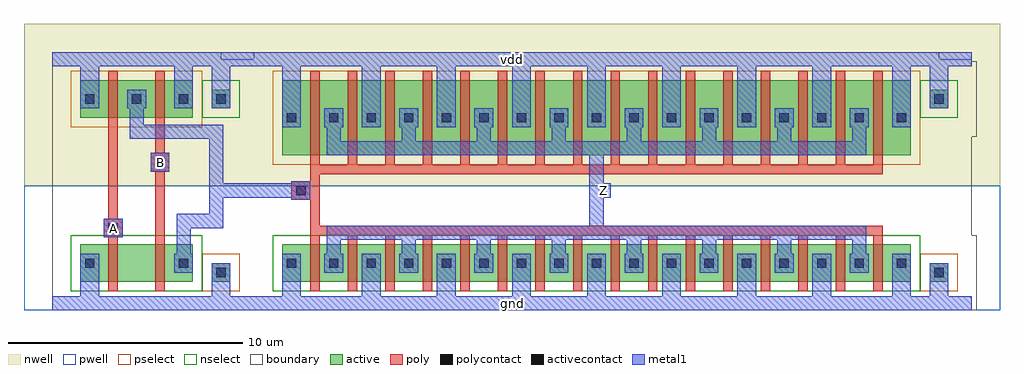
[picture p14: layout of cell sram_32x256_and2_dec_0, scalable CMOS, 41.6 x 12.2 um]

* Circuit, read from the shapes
.subckt sram_32x256_and2_dec_0 A B Z gnd vdd
M1 sram_32x256_pnand2_0/sram_32x256_nmos_m1_w1_600_sm1_dactive_2/D A gnd gnd nfet w=1.6u l=0.4u
M2 sram_32x256_pinv_0_1/A B sram_32x256_pnand2_0/sram_32x256_nmos_m1_w1_600_sm1_dactive_2/D gnd nfet w=1.6u l=0.4u
M3 Z sram_32x256_pinv_0_1/A gnd gnd nfet w=1.6u l=0.4u m=16
M4 sram_32x256_pinv_0_1/A A vdd vdd pfet w=1.6u l=0.4u
M5 vdd B sram_32x256_pinv_0_1/A vdd pfet w=1.6u l=0.4u
M6 Z sram_32x256_pinv_0_1/A vdd vdd pfet w=3.2u l=0.4u m=16
.ends

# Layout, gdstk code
import gdstk
lib = gdstk.Library(unit=1e-6, precision=1e-09)
def R(c, l, rs):  # rectangles x0, y0, x1, y1
    for r in rs: c.add(gdstk.rectangle(r[:2], r[2:], *l))
def A(c, l, x, y, w, h, nx, ny, dx, dy):  # array of equal rectangles
    R(c, l, [(x+i*dx, y+j*dy, x+i*dx+w, y+j*dy+h) for i in range(nx) for j in range(ny)])
pwell = (41, 0)
nwell = (42, 0)
active = (43, 0)
pselect = (44, 0)
nselect = (45, 0)
poly = (46, 0)
polycontact = (47, 0)
activecontact = (48, 0)
metal1 = (49, 0)
boundary = (63, 0)

sram_32x256_contact_12 = lib.new_cell('sram_32x256_contact_12')
R(sram_32x256_contact_12, nwell, [(-1.2,-1.2,2,2)])
R(sram_32x256_contact_12, active, [(0,0,0.8,0.8)])
R(sram_32x256_contact_12, pselect, [(-0.4,-0.4,1.2,1.2)])
R(sram_32x256_contact_12, activecontact, [(0.2,0.2,0.6,0.6)])
R(sram_32x256_contact_12, metal1, [(0,0,0.8,0.8)])
R(sram_32x256_contact_12, boundary, [(-1.2,-1.2,2,2)])

sram_32x256_pmos_m1_w1_6 = lib.new_cell('sram_32x256_pmos_m1_w1_600_sm1_dm1')
R(sram_32x256_pmos_m1_w1_6, nwell, [(-1.2,-1.2,4,2.8)])
R(sram_32x256_pmos_m1_w1_6, active, [(0,0,2.8,1.6)])
R(sram_32x256_pmos_m1_w1_6, pselect, [(-0.4,-0.4,3.2,2)])
R(sram_32x256_pmos_m1_w1_6, poly, [(1.2,-0.4,1.6,2), (1.2,-0.4,1.6,2)])
R(sram_32x256_pmos_m1_w1_6, metal1, [(0,0.4,0.8,1.2), (2,0.4,2.8,1.2)])
R(sram_32x256_pmos_m1_w1_6, boundary, [(-1.2,-1.2,4,2.8)])
sram_32x256_pmos_m1_w1_6.add(gdstk.Reference(sram_32x256_contact_12, (0,0.4)))
sram_32x256_pmos_m1_w1_6.add(gdstk.Reference(sram_32x256_contact_12, (2,0.4)))
sram_32x256_pmos_m1_w1_6.add(gdstk.Label('G', (1.4,0.8), layer=46, texttype=0))
sram_32x256_pmos_m1_w1_6.add(gdstk.Label('S', (0.4,0.8), layer=49, texttype=0))
sram_32x256_pmos_m1_w1_6.add(gdstk.Label('D', (2.4,0.8), layer=49, texttype=0))

sram_32x256_contact_11 = lib.new_cell('sram_32x256_contact_11')
R(sram_32x256_contact_11, pwell, [(-1.2,-1.2,2,2)])
R(sram_32x256_contact_11, active, [(0,0,0.8,0.8)])
R(sram_32x256_contact_11, nselect, [(-0.4,-0.4,1.2,1.2)])
R(sram_32x256_contact_11, activecontact, [(0.2,0.2,0.6,0.6)])
R(sram_32x256_contact_11, metal1, [(0,0,0.8,0.8)])
R(sram_32x256_contact_11, boundary, [(-1.2,-1.2,2,2)])

sram_32x256_nmos_m1_w1_6 = lib.new_cell('sram_32x256_nmos_m1_w1_600_sm1_dactive')
R(sram_32x256_nmos_m1_w1_6, pwell, [(-1.2,-1.2,4,2.8)])
R(sram_32x256_nmos_m1_w1_6, active, [(0,0,2.8,1.6), (2.1,0.5,2.7,1.1)])
R(sram_32x256_nmos_m1_w1_6, nselect, [(-0.4,-0.4,3.2,2)])
R(sram_32x256_nmos_m1_w1_6, poly, [(1.2,-0.4,1.6,2), (1.2,-0.4,1.6,2)])
R(sram_32x256_nmos_m1_w1_6, metal1, [(0,0.4,0.8,1.2)])
R(sram_32x256_nmos_m1_w1_6, boundary, [(-1.2,-1.2,4,2.8)])
sram_32x256_nmos_m1_w1_6.add(gdstk.Reference(sram_32x256_contact_11, (0,0.4)))
sram_32x256_nmos_m1_w1_6.add(gdstk.Label('G', (1.4,0.8), layer=46, texttype=0))
sram_32x256_nmos_m1_w1_6.add(gdstk.Label('S', (0.4,0.8), layer=49, texttype=0))
sram_32x256_nmos_m1_w1_6.add(gdstk.Label('D', (2.4,0.8), layer=43, texttype=0))

c_sram_32x256_nmos_m1_w1_6 = lib.new_cell('sram_32x256_nmos_m1_w1_600_sactive_dm1')
R(c_sram_32x256_nmos_m1_w1_6, pwell, [(-1.2,-1.2,4,2.8)])
R(c_sram_32x256_nmos_m1_w1_6, active, [(0,0,2.8,1.6), (0.1,0.5,0.7,1.1)])
R(c_sram_32x256_nmos_m1_w1_6, nselect, [(-0.4,-0.4,3.2,2)])
R(c_sram_32x256_nmos_m1_w1_6, poly, [(1.2,-0.4,1.6,2), (1.2,-0.4,1.6,2)])
R(c_sram_32x256_nmos_m1_w1_6, metal1, [(2,0.4,2.8,1.2)])
R(c_sram_32x256_nmos_m1_w1_6, boundary, [(-1.2,-1.2,4,2.8)])
c_sram_32x256_nmos_m1_w1_6.add(gdstk.Reference(sram_32x256_contact_11, (2,0.4)))
c_sram_32x256_nmos_m1_w1_6.add(gdstk.Label('G', (1.4,0.8), layer=46, texttype=0))
c_sram_32x256_nmos_m1_w1_6.add(gdstk.Label('S', (0.4,0.8), layer=43, texttype=0))
c_sram_32x256_nmos_m1_w1_6.add(gdstk.Label('D', (2.4,0.8), layer=49, texttype=0))

sram_32x256_contact_13 = lib.new_cell('sram_32x256_contact_13')
R(sram_32x256_contact_13, nwell, [(-1.2,-1.2,2,2)])
R(sram_32x256_contact_13, active, [(0,0,0.8,0.8)])
R(sram_32x256_contact_13, nselect, [(-0.4,-0.4,1.2,1.2)])
R(sram_32x256_contact_13, activecontact, [(0.2,0.2,0.6,0.6)])
R(sram_32x256_contact_13, metal1, [(0,0,0.8,0.8)])
R(sram_32x256_contact_13, boundary, [(-1.2,-1.2,2,2)])

sram_32x256_contact_14 = lib.new_cell('sram_32x256_contact_14')
R(sram_32x256_contact_14, pwell, [(-1.2,-1.2,2,2)])
R(sram_32x256_contact_14, active, [(0,0,0.8,0.8)])
R(sram_32x256_contact_14, pselect, [(-0.4,-0.4,1.2,1.2)])
R(sram_32x256_contact_14, activecontact, [(0.2,0.2,0.6,0.6)])
R(sram_32x256_contact_14, metal1, [(0,0,0.8,0.8)])
R(sram_32x256_contact_14, boundary, [(-1.2,-1.2,2,2)])

sram_32x256_contact_15 = lib.new_cell('sram_32x256_contact_15')
R(sram_32x256_contact_15, poly, [(0,0,0.8,0.8)])
R(sram_32x256_contact_15, polycontact, [(0.2,0.2,0.6,0.6)])
R(sram_32x256_contact_15, metal1, [(0,0,0.8,0.8)])
R(sram_32x256_contact_15, boundary, [(0,0,0.8,0.8)])

sram_32x256_pnand2 = lib.new_cell('sram_32x256_pnand2')
R(sram_32x256_pnand2, pwell, [(-1.2,-0.3,9.8,5)])
R(sram_32x256_pnand2, nwell, [(-1.2,5,9.8,11.9)])
R(sram_32x256_pnand2, poly, [(2.4,2.8,2.6,3.6), (2.4,2.9,2.8,7.5), (4.4,2.9,4.8,7.5), (4.4,5.6,4.6,6.4)])
R(sram_32x256_pnand2, metal1, [(0,-0.3,8.6,0.3), (1.2,-0.3,2,1.3), (6.8,0,7.6,1.3), (5.3,2.1,5.9,3.5), (2.2,2.8,3,3.6), (5.3,3.2,5.9,3.8), (5.6,3.2,7,3.8), (6.7,3.2,7.3,3.8), (6.7,3.5,7.3,7.3), (4.2,5.6,5,6.4), (3.3,7,3.9,7.6), (3.6,7,7,7.6), (6.7,7,7.3,7.6), (3.3,7.3,3.9,8.3), (1.2,8.3,2,10.7), (5.2,8.3,6,10.7), (6.8,8.7,7.6,10.4), (0,10.1,8.6,10.7)])
R(sram_32x256_pnand2, boundary, [(0,0,8.6,10.4), (0,0,8.6,10.4)])
sram_32x256_pnand2.add(gdstk.Reference(sram_32x256_pmos_m1_w1_6, (1.2,7.9)))
sram_32x256_pnand2.add(gdstk.Reference(sram_32x256_pmos_m1_w1_6, (3.2,7.9)))
sram_32x256_pnand2.add(gdstk.Reference(sram_32x256_nmos_m1_w1_6, (1.2,0.9)))
sram_32x256_pnand2.add(gdstk.Reference(c_sram_32x256_nmos_m1_w1_6, (3.2,0.9)))
sram_32x256_pnand2.add(gdstk.Reference(sram_32x256_contact_13, (6.8,8.3)))
sram_32x256_pnand2.add(gdstk.Reference(sram_32x256_contact_14, (6.8,0.9)))
sram_32x256_pnand2.add(gdstk.Reference(sram_32x256_contact_15, (2.2,2.8)))
sram_32x256_pnand2.add(gdstk.Reference(sram_32x256_contact_15, (4.2,5.6)))
sram_32x256_pnand2.add(gdstk.Label('Z', (7,7.3), layer=49, texttype=0))
sram_32x256_pnand2.add(gdstk.Label('gnd', (4.3,0), layer=49, texttype=0))
sram_32x256_pnand2.add(gdstk.Label('vdd', (4.3,10.4), layer=49, texttype=0))
sram_32x256_pnand2.add(gdstk.Label('A', (2.6,3.2), layer=49, texttype=0))
sram_32x256_pnand2.add(gdstk.Label('B', (4.6,6), layer=49, texttype=0))

sram_32x256_pmos_m16_w3_ = lib.new_cell('sram_32x256_pmos_m16_w3_200_sm1_dm1_da_p')
R(sram_32x256_pmos_m16_w3_, nwell, [(-1.2,-1.2,28,4.4)])
R(sram_32x256_pmos_m16_w3_, active, [(0,0,26.8,3.2)])
R(sram_32x256_pmos_m16_w3_, pselect, [(-0.4,-0.4,27.2,3.6)])
A(sram_32x256_pmos_m16_w3_, poly, 1.2, -0.4, 0.4, 4, 16, 1, 1.6, 0)
R(sram_32x256_pmos_m16_w3_, poly, [(1.2,-0.8,25.6,-0.4)])
A(sram_32x256_pmos_m16_w3_, metal1, 1.9, 0.3, 0.6, 1.3, 8, 1, 3.2, 0)
A(sram_32x256_pmos_m16_w3_, metal1, 3.4, 1.2, 0.8, 0.8, 7, 1, 3.2, 0)
R(sram_32x256_pmos_m16_w3_, metal1, [(1.9,0,24.9,0.6), (0,1.2,0.8,2), (26,1.2,26.8,2)])
R(sram_32x256_pmos_m16_w3_, boundary, [(-1.2,-1.2,28,4.4)])
sram_32x256_pmos_m16_w3_.add(gdstk.Reference(sram_32x256_contact_12, (0,1.2)))
sram_32x256_pmos_m16_w3_.add(gdstk.Reference(sram_32x256_contact_12, (1.8,1.2)))
sram_32x256_pmos_m16_w3_.add(gdstk.Reference(sram_32x256_contact_12, (3.4,1.2)))
sram_32x256_pmos_m16_w3_.add(gdstk.Reference(sram_32x256_contact_12, (5,1.2)))
sram_32x256_pmos_m16_w3_.add(gdstk.Reference(sram_32x256_contact_12, (6.6,1.2)))
sram_32x256_pmos_m16_w3_.add(gdstk.Reference(sram_32x256_contact_12, (8.2,1.2)))
sram_32x256_pmos_m16_w3_.add(gdstk.Reference(sram_32x256_contact_12, (9.8,1.2)))
sram_32x256_pmos_m16_w3_.add(gdstk.Reference(sram_32x256_contact_12, (11.4,1.2)))
sram_32x256_pmos_m16_w3_.add(gdstk.Reference(sram_32x256_contact_12, (13,1.2)))
sram_32x256_pmos_m16_w3_.add(gdstk.Reference(sram_32x256_contact_12, (14.6,1.2)))
sram_32x256_pmos_m16_w3_.add(gdstk.Reference(sram_32x256_contact_12, (16.2,1.2)))
sram_32x256_pmos_m16_w3_.add(gdstk.Reference(sram_32x256_contact_12, (17.8,1.2)))
sram_32x256_pmos_m16_w3_.add(gdstk.Reference(sram_32x256_contact_12, (19.4,1.2)))
sram_32x256_pmos_m16_w3_.add(gdstk.Reference(sram_32x256_contact_12, (21,1.2)))
sram_32x256_pmos_m16_w3_.add(gdstk.Reference(sram_32x256_contact_12, (22.6,1.2)))
sram_32x256_pmos_m16_w3_.add(gdstk.Reference(sram_32x256_contact_12, (24.2,1.2)))
sram_32x256_pmos_m16_w3_.add(gdstk.Reference(sram_32x256_contact_12, (26,1.2)))
sram_32x256_pmos_m16_w3_.add(gdstk.Label('G', (13.4,-0.6), layer=46, texttype=0))
sram_32x256_pmos_m16_w3_.add(gdstk.Label('S', (7,1.6), layer=49, texttype=0))
sram_32x256_pmos_m16_w3_.add(gdstk.Label('S', (19.8,1.6), layer=49, texttype=0))
sram_32x256_pmos_m16_w3_.add(gdstk.Label('S', (10.2,1.6), layer=49, texttype=0))
sram_32x256_pmos_m16_w3_.add(gdstk.Label('S', (16.6,1.6), layer=49, texttype=0))
sram_32x256_pmos_m16_w3_.add(gdstk.Label('S', (0.4,1.6), layer=49, texttype=0))
sram_32x256_pmos_m16_w3_.add(gdstk.Label('S', (13.4,1.6), layer=49, texttype=0))
sram_32x256_pmos_m16_w3_.add(gdstk.Label('S', (3.8,1.6), layer=49, texttype=0))
sram_32x256_pmos_m16_w3_.add(gdstk.Label('S', (26.4,1.6), layer=49, texttype=0))
sram_32x256_pmos_m16_w3_.add(gdstk.Label('S', (23,1.6), layer=49, texttype=0))
sram_32x256_pmos_m16_w3_.add(gdstk.Label('D', (13.4,0.3), layer=49, texttype=0))

sram_32x256_nmos_m16_w1_ = lib.new_cell('sram_32x256_nmos_m16_w1_600_sm1_dm1_da_p')
R(sram_32x256_nmos_m16_w1_, pwell, [(-1.2,-1.2,28,2.8)])
R(sram_32x256_nmos_m16_w1_, active, [(0,0,26.8,1.6)])
R(sram_32x256_nmos_m16_w1_, nselect, [(-0.4,-0.4,27.2,2)])
A(sram_32x256_nmos_m16_w1_, poly, 1.2, -0.4, 0.4, 2.4, 16, 1, 1.6, 0)
R(sram_32x256_nmos_m16_w1_, poly, [(1.2,2,25.6,2.4)])
A(sram_32x256_nmos_m16_w1_, metal1, 3.4, 0.4, 0.8, 0.8, 7, 1, 3.2, 0)
A(sram_32x256_nmos_m16_w1_, metal1, 1.9, 0.8, 0.6, 1.3, 8, 1, 3.2, 0)
R(sram_32x256_nmos_m16_w1_, metal1, [(0,0.4,0.8,1.2), (26,0.4,26.8,1.2), (1.9,1.8,24.9,2.4)])
R(sram_32x256_nmos_m16_w1_, boundary, [(-1.2,-1.2,28,2.8)])
sram_32x256_nmos_m16_w1_.add(gdstk.Reference(sram_32x256_contact_11, (0,0.4)))
sram_32x256_nmos_m16_w1_.add(gdstk.Reference(sram_32x256_contact_11, (1.8,0.4)))
sram_32x256_nmos_m16_w1_.add(gdstk.Reference(sram_32x256_contact_11, (3.4,0.4)))
sram_32x256_nmos_m16_w1_.add(gdstk.Reference(sram_32x256_contact_11, (5,0.4)))
sram_32x256_nmos_m16_w1_.add(gdstk.Reference(sram_32x256_contact_11, (6.6,0.4)))
sram_32x256_nmos_m16_w1_.add(gdstk.Reference(sram_32x256_contact_11, (8.2,0.4)))
sram_32x256_nmos_m16_w1_.add(gdstk.Reference(sram_32x256_contact_11, (9.8,0.4)))
sram_32x256_nmos_m16_w1_.add(gdstk.Reference(sram_32x256_contact_11, (11.4,0.4)))
sram_32x256_nmos_m16_w1_.add(gdstk.Reference(sram_32x256_contact_11, (13,0.4)))
sram_32x256_nmos_m16_w1_.add(gdstk.Reference(sram_32x256_contact_11, (14.6,0.4)))
sram_32x256_nmos_m16_w1_.add(gdstk.Reference(sram_32x256_contact_11, (16.2,0.4)))
sram_32x256_nmos_m16_w1_.add(gdstk.Reference(sram_32x256_contact_11, (17.8,0.4)))
sram_32x256_nmos_m16_w1_.add(gdstk.Reference(sram_32x256_contact_11, (19.4,0.4)))
sram_32x256_nmos_m16_w1_.add(gdstk.Reference(sram_32x256_contact_11, (21,0.4)))
sram_32x256_nmos_m16_w1_.add(gdstk.Reference(sram_32x256_contact_11, (22.6,0.4)))
sram_32x256_nmos_m16_w1_.add(gdstk.Reference(sram_32x256_contact_11, (24.2,0.4)))
sram_32x256_nmos_m16_w1_.add(gdstk.Reference(sram_32x256_contact_11, (26,0.4)))
sram_32x256_nmos_m16_w1_.add(gdstk.Label('G', (13.4,2.2), layer=46, texttype=0))
sram_32x256_nmos_m16_w1_.add(gdstk.Label('S', (13.4,0.8), layer=49, texttype=0))
sram_32x256_nmos_m16_w1_.add(gdstk.Label('S', (3.8,0.8), layer=49, texttype=0))
sram_32x256_nmos_m16_w1_.add(gdstk.Label('S', (7,0.8), layer=49, texttype=0))
sram_32x256_nmos_m16_w1_.add(gdstk.Label('S', (19.8,0.8), layer=49, texttype=0))
sram_32x256_nmos_m16_w1_.add(gdstk.Label('S', (10.2,0.8), layer=49, texttype=0))
sram_32x256_nmos_m16_w1_.add(gdstk.Label('S', (16.6,0.8), layer=49, texttype=0))
sram_32x256_nmos_m16_w1_.add(gdstk.Label('S', (26.4,0.8), layer=49, texttype=0))
sram_32x256_nmos_m16_w1_.add(gdstk.Label('S', (0.4,0.8), layer=49, texttype=0))
sram_32x256_nmos_m16_w1_.add(gdstk.Label('S', (23,0.8), layer=49, texttype=0))
sram_32x256_nmos_m16_w1_.add(gdstk.Label('D', (13.4,2.1), layer=49, texttype=0))

sram_32x256_pinv_0 = lib.new_cell('sram_32x256_pinv_0')
R(sram_32x256_pinv_0, pwell, [(-1.2,-0.3,31.8,5)])
R(sram_32x256_pinv_0, nwell, [(-1.2,5,31.8,11.9)])
R(sram_32x256_pinv_0, poly, [(2.4,3.3,2.8,5.5), (2,4.4,2.4,5.2)])
A(sram_32x256_pinv_0, metal1, 4.6, -0.3, 0.8, 1.6, 7, 1, 3.2, 0)
A(sram_32x256_pinv_0, metal1, 4.6, 7.5, 0.8, 3.2, 7, 1, 3.2, 0)
R(sram_32x256_pinv_0, metal1, [(0,-0.3,30.6,0.3), (1.2,-0.3,2,1.3), (27.2,-0.3,28,1.3), (28.8,0,29.6,1.3), (14.3,2.7,14.9,6.9), (1.6,4.4,2.4,5.2), (14.6,4.5,15.2,5.1), (1.2,7.5,2,10.7), (27.2,7.5,28,10.7), (28.8,8.7,29.6,10.4), (0,10.1,30.6,10.7)])
R(sram_32x256_pinv_0, boundary, [(0,0,30.6,10.4), (0,0,30.6,10.4)])
sram_32x256_pinv_0.add(gdstk.Reference(sram_32x256_pmos_m16_w3_, (1.2,6.3)))
sram_32x256_pinv_0.add(gdstk.Reference(sram_32x256_nmos_m16_w1_, (1.2,0.9)))
sram_32x256_pinv_0.add(gdstk.Reference(sram_32x256_contact_13, (28.8,8.3)))
sram_32x256_pinv_0.add(gdstk.Reference(sram_32x256_contact_14, (28.8,0.9)))
sram_32x256_pinv_0.add(gdstk.Reference(sram_32x256_contact_15, (1.6,4.4)))
sram_32x256_pinv_0.add(gdstk.Label('A', (2,4.8), layer=49, texttype=0))
sram_32x256_pinv_0.add(gdstk.Label('Z', (14.9,4.8), layer=49, texttype=0))
sram_32x256_pinv_0.add(gdstk.Label('gnd', (15.3,0), layer=49, texttype=0))
sram_32x256_pinv_0.add(gdstk.Label('vdd', (15.3,10.4), layer=49, texttype=0))

sram_32x256_and2_dec_0 = lib.new_cell('sram_32x256_and2_dec_0')
R(sram_32x256_and2_dec_0, metal1, [(0,-0.3,39.2,0.3), (2.2,2.8,3,3.6), (6.7,4.5,7.3,5.1), (7,4.5,10.6,5.1), (23.2,4.5,23.8,5.1), (6.7,4.8,7.3,7.3), (4.2,5.6,5,6.4), (0,10.1,39.2,10.7)])
R(sram_32x256_and2_dec_0, boundary, [(0,0,39.2,10.4)])
sram_32x256_and2_dec_0.add(gdstk.Reference(sram_32x256_pnand2, (0,0)))
sram_32x256_and2_dec_0.add(gdstk.Reference(sram_32x256_pinv_0, (8.6,0)))
sram_32x256_and2_dec_0.add(gdstk.Label('Z', (23.5,4.8), layer=49, texttype=0))
sram_32x256_and2_dec_0.add(gdstk.Label('A', (2.6,3.2), layer=49, texttype=0))
sram_32x256_and2_dec_0.add(gdstk.Label('B', (4.6,6), layer=49, texttype=0))
sram_32x256_and2_dec_0.add(gdstk.Label('gnd', (19.6,0), layer=49, texttype=0))
sram_32x256_and2_dec_0.add(gdstk.Label('vdd', (19.6,10.4), layer=49, texttype=0))

lib.write_gds('sram_32x256_and2_dec_0.gds')
